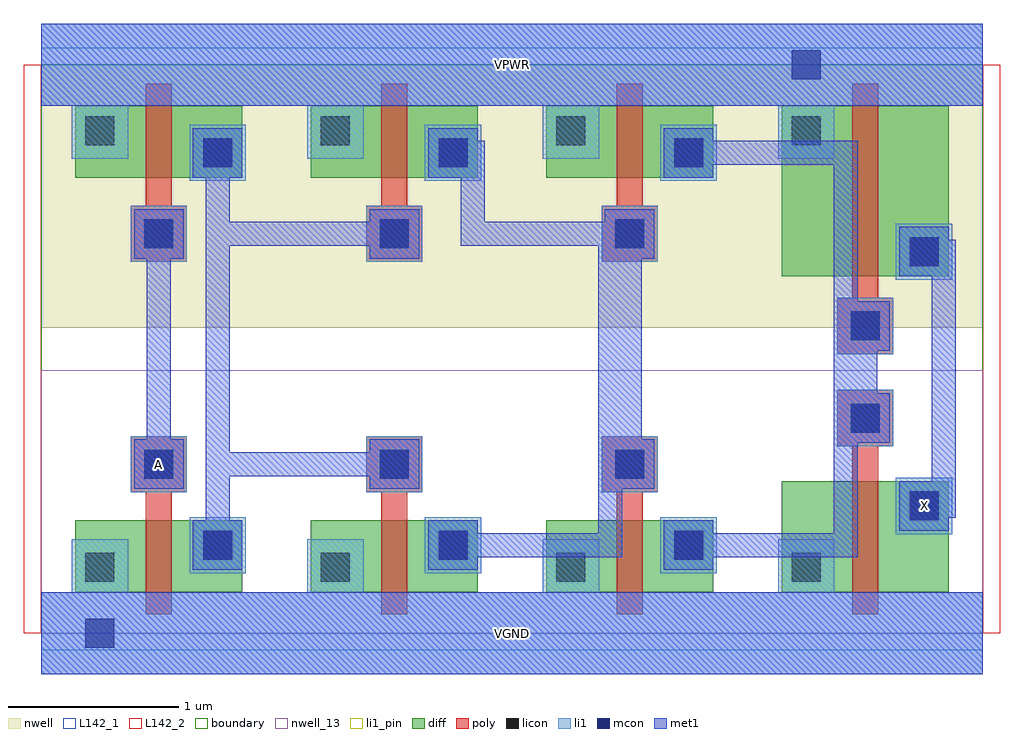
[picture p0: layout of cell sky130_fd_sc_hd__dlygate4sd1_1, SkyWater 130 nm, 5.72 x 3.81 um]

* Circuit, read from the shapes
.subckt sky130_fd_sc_hd__dlygate4sd1_1 A VGND VPWR X
XM1 n1 A VGND VSUBS sky130_fd_pr__nfet_01v8 w=0.42 l=0.15
XM2 n2 n1 VGND VSUBS sky130_fd_pr__nfet_01v8 w=0.42 l=0.15
XM3 n3 n2 VGND VSUBS sky130_fd_pr__nfet_01v8 w=0.42 l=0.15
XM4 X n3 VGND VSUBS sky130_fd_pr__nfet_01v8 w=0.65 l=0.15
XM5 n1 A VPWR n4 sky130_fd_pr__pfet_01v8 w=0.42 l=0.15
XM6 n2 n1 VPWR n4 sky130_fd_pr__pfet_01v8 w=0.42 l=0.15
XM7 n3 n2 VPWR n4 sky130_fd_pr__pfet_01v8 w=0.42 l=0.15
XM8 X n3 VPWR n4 sky130_fd_pr__pfet_01v8 w=1 l=0.15
.ends

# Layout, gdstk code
import gdstk
lib = gdstk.Library(unit=1e-6, precision=1e-09)
def R(c, l, rs):  # rectangles x0, y0, x1, y1
    for r in rs: c.add(gdstk.rectangle(r[:2], r[2:], *l))
def A(c, l, x, y, w, h, nx, ny, dx, dy):  # array of equal rectangles
    R(c, l, [(x+i*dx, y+j*dy, x+i*dx+w, y+j*dy+h) for i in range(nx) for j in range(ny)])
def P(c, l, *ps):  # polygons
    for p in ps: c.add(gdstk.Polygon(p, *l))
nwell_13 = (64, 13)
nwell = (64, 20)
diff = (65, 20)
poly = (66, 20)
licon = (66, 44)
li1_pin = (67, 16)
li1 = (67, 20)
mcon = (67, 44)
met1 = (68, 20)
L142_1 = (142, 1)
L142_2 = (142, 2)
boundary = (235, 4)

sky130_fd_sc_hd__dlygate = lib.new_cell('sky130_fd_sc_hd__dlygate4sd1_1')
R(sky130_fd_sc_hd__dlygate, nwell_13, [(0,0,5.52,1.54)])
R(sky130_fd_sc_hd__dlygate, nwell, [(0,1.79,5.52,3.33)])
A(sky130_fd_sc_hd__dlygate, diff, 0.2, 0.24, 0.98, 0.42, 3, 2, 1.38, 2.43)
A(sky130_fd_sc_hd__dlygate, diff, 0.2, 0.24, 0.415, 0.42, 3, 2, 1.38, 2.43)
A(sky130_fd_sc_hd__dlygate, diff, 0.615, 0.24, 0.565, 0.42, 3, 2, 1.38, 2.43)
R(sky130_fd_sc_hd__dlygate, diff, [(4.34,0.24,5.32,0.89), (4.34,0.24,4.755,0.89), (4.755,0.24,5.32,0.89), (4.34,2.09,5.32,3.09), (4.34,2.09,4.755,3.09), (4.755,2.09,5.32,3.09)])
P(sky130_fd_sc_hd__dlygate, poly, [(1.995,0.11),(1.995,0.825),(1.905,0.825),(1.905,1.155),(2.235,1.155),(2.235,0.825),(2.145,0.825),(2.145,0.11)],
  [(1.905,2.175),(1.905,2.505),(1.995,2.505),(1.995,3.22),(2.145,3.22),(2.145,2.505),(2.235,2.505),(2.235,2.175)],
  [(0.615,0.11),(0.615,0.825),(0.525,0.825),(0.525,1.155),(0.855,1.155),(0.855,0.825),(0.765,0.825),(0.765,0.11)],
  [(0.525,2.175),(0.525,2.505),(0.615,2.505),(0.615,3.22),(0.765,3.22),(0.765,2.505),(0.855,2.505),(0.855,2.175)],
  [(4.755,0.11),(4.755,1.095),(4.665,1.095),(4.665,1.425),(4.995,1.425),(4.995,1.095),(4.905,1.095),(4.905,0.11)],
  [(4.665,1.635),(4.665,1.965),(4.755,1.965),(4.755,3.22),(4.905,3.22),(4.905,1.965),(4.995,1.965),(4.995,1.635)],
  [(3.375,0.11),(3.375,0.825),(3.285,0.825),(3.285,1.155),(3.615,1.155),(3.615,0.825),(3.525,0.825),(3.525,0.11)],
  [(3.285,2.175),(3.285,2.505),(3.375,2.505),(3.375,3.22),(3.525,3.22),(3.525,2.505),(3.615,2.505),(3.615,2.175)])
A(sky130_fd_sc_hd__dlygate, licon, 0.26, 0.3, 0.17, 0.17, 4, 2, 1.38, 2.56)
A(sky130_fd_sc_hd__dlygate, licon, 0.95, 0.43, 0.17, 0.17, 3, 2, 1.38, 2.3)
A(sky130_fd_sc_hd__dlygate, licon, 0.605, 0.905, 0.17, 0.17, 3, 2, 1.38, 1.35)
R(sky130_fd_sc_hd__dlygate, licon, [(5.09,0.66,5.26,0.83), (4.745,1.175,4.915,1.345), (4.745,1.715,4.915,1.885), (5.09,2.15,5.26,2.32)])
R(sky130_fd_sc_hd__dlygate, li1_pin, [(0,-0.24,5.52,0.24), (5.01,0.58,5.34,0.91), (0.525,0.825,0.855,1.155), (0,3.09,5.52,3.57)])
A(sky130_fd_sc_hd__dlygate, li1, 0.87, 0.35, 0.33, 0.33, 3, 2, 1.38, 2.3)
A(sky130_fd_sc_hd__dlygate, li1, 0.525, 0.825, 0.33, 0.33, 3, 2, 1.38, 1.35)
R(sky130_fd_sc_hd__dlygate, li1, [(5.01,0.58,5.34,0.91), (4.665,1.095,4.995,1.425), (4.665,1.635,4.995,1.965), (5.01,2.07,5.34,2.4)])
P(sky130_fd_sc_hd__dlygate, li1, [(0.18,2.78),(0.18,3.09),(0,3.09),(0,3.57),(5.52,3.57),(5.52,3.09),(4.65,3.09),(4.65,2.78),(4.32,2.78),(4.32,3.09),(3.27,3.09),(3.27,2.78),(2.94,2.78),(2.94,3.09),(1.89,3.09),(1.89,2.78),(1.56,2.78),(1.56,3.09),(0.51,3.09),(0.51,2.78)],
  [(0,-0.24),(0,0.24),(0.18,0.24),(0.18,0.55),(0.51,0.55),(0.51,0.24),(1.56,0.24),(1.56,0.55),(1.89,0.55),(1.89,0.24),(2.94,0.24),(2.94,0.55),(3.27,0.55),(3.27,0.24),(4.32,0.24),(4.32,0.55),(4.65,0.55),(4.65,0.24),(5.52,0.24),(5.52,-0.24)])
A(sky130_fd_sc_hd__dlygate, mcon, 0.95, 0.43, 0.17, 0.17, 3, 2, 1.38, 2.3)
A(sky130_fd_sc_hd__dlygate, mcon, 0.605, 0.905, 0.17, 0.17, 3, 2, 1.38, 1.35)
R(sky130_fd_sc_hd__dlygate, mcon, [(0.26,-0.085,0.43,0.085), (5.09,0.66,5.26,0.83), (4.745,1.175,4.915,1.345), (4.745,1.715,4.915,1.885), (5.09,2.15,5.26,2.32), (4.4,3.245,4.57,3.415)])
R(sky130_fd_sc_hd__dlygate, met1, [(0,-0.24,5.52,0.24), (0,3.09,5.52,3.57)])
P(sky130_fd_sc_hd__dlygate, met1, [(0.89,0.37),(0.89,0.66),(0.965,0.66),(0.965,2.67),(0.89,2.67),(0.89,2.96),(1.18,2.96),(1.18,2.67),(1.105,2.67),(1.105,2.41),(1.925,2.41),(1.925,2.485),(2.215,2.485),(2.215,2.195),(1.925,2.195),(1.925,2.27),(1.105,2.27),(1.105,1.06),(1.925,1.06),(1.925,1.135),(2.215,1.135),(2.215,0.845),(1.925,0.845),(1.925,0.92),(1.105,0.92),(1.105,0.66),(1.18,0.66),(1.18,0.37)],
  [(0.545,0.845),(0.545,1.135),(0.62,1.135),(0.62,2.195),(0.545,2.195),(0.545,2.485),(0.835,2.485),(0.835,2.195),(0.76,2.195),(0.76,1.135),(0.835,1.135),(0.835,0.845)],
  [(3.65,0.37),(3.65,0.66),(3.94,0.66),(3.94,0.585),(4.645,0.585),(4.645,2.745),(3.94,2.745),(3.94,2.67),(3.65,2.67),(3.65,2.96),(3.94,2.96),(3.94,2.885),(4.785,2.885),(4.785,1.945),(4.975,1.945),(4.975,1.655),(4.9,1.655),(4.9,1.405),(4.975,1.405),(4.975,1.115),(4.785,1.115),(4.785,0.445),(3.94,0.445),(3.94,0.37)],
  [(5.03,0.6),(5.03,0.89),(5.22,0.89),(5.22,2.09),(5.03,2.09),(5.03,2.38),(5.32,2.38),(5.32,2.305),(5.36,2.305),(5.36,0.675),(5.32,0.675),(5.32,0.6)],
  [(2.27,0.37),(2.27,0.66),(2.56,0.66),(2.56,0.585),(3.265,0.585),(3.265,2.27),(2.46,2.27),(2.46,2.67),(2.27,2.67),(2.27,2.96),(2.56,2.96),(2.56,2.885),(2.6,2.885),(2.6,2.41),(3.305,2.41),(3.305,2.485),(3.595,2.485),(3.595,2.195),(3.52,2.195),(3.52,1.135),(3.595,1.135),(3.595,0.845),(3.405,0.845),(3.405,0.445),(2.56,0.445),(2.56,0.37)])
R(sky130_fd_sc_hd__dlygate, L142_1, [(0,-0.1,5.52,0), (0,3.33,5.52,3.43)])
R(sky130_fd_sc_hd__dlygate, L142_2, [(-0.1,0,0,3.33), (5.52,0,5.62,3.33)])
R(sky130_fd_sc_hd__dlygate, boundary, [(0,0,5.52,3.33)])
sky130_fd_sc_hd__dlygate.add(gdstk.Label('X', (5.175,0.745), layer=67, texttype=5))
sky130_fd_sc_hd__dlygate.add(gdstk.Label('A', (0.69,0.99), layer=67, texttype=5))
sky130_fd_sc_hd__dlygate.add(gdstk.Label('VGND', (2.76,0), layer=67, texttype=5))
sky130_fd_sc_hd__dlygate.add(gdstk.Label('VPWR', (2.76,3.33), layer=67, texttype=5))
sky130_fd_sc_hd__dlygate.add(gdstk.Label('VGND', (2.76,0), layer=68, texttype=5))
sky130_fd_sc_hd__dlygate.add(gdstk.Label('VPWR', (2.76,3.33), layer=68, texttype=5))

lib.write_gds('sky130_fd_sc_hd__dlygate4sd1_1.gds')
